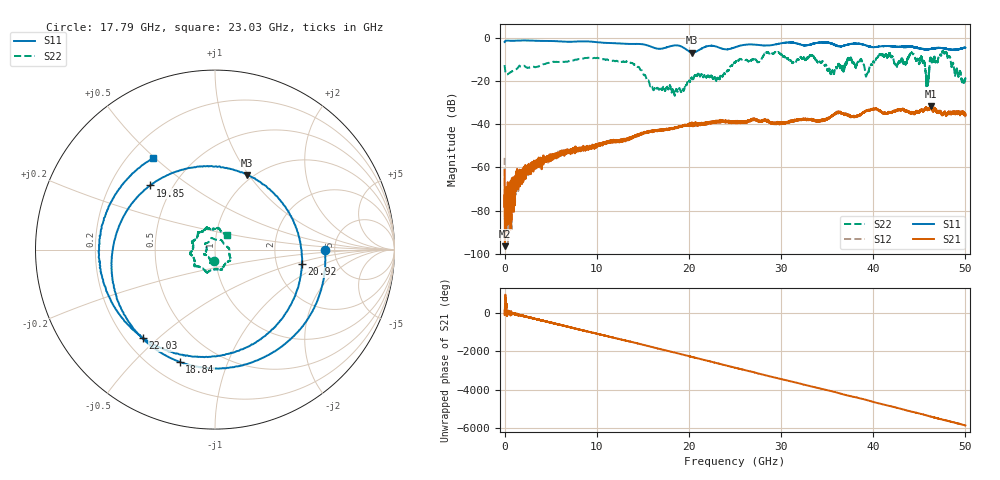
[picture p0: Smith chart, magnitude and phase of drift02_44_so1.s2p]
!Created with skrf (http://scikit-rf.org).
# Hz S RI R 50.0
!freq ReS11 ImS11 ReS21 ImS21 ReS12 ImS12 ReS22 ImS22
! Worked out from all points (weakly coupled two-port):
!   10001 points, 300 kHz to 50 GHz, reference 50 ohm
!   highest |S21| = -31.56 dB at 46.22 GHz (marker M1); lowest = -96.3 dB at 30.3 MHz (marker M2)
!   lowest |S11| = -6.9 dB at 20.35 GHz (marker M3), VSWR 2.64, Z = 46.9 + j48.8 ohm
!   |S11| at or under -10 dB: nowhere
!   |S22| runs from -26.9 to -6.0 dB; largest |S21 - S12| = 0.0029
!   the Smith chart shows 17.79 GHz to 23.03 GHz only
!   S11 on the Smith chart (normalised r, x): 17.79 GHz: 4.16, -0.04; 18.84 GHz: 0.31, -0.68; 19.85 GHz: 0.37, +0.36; 20.92 GHz: 2.77, -0.60; 22.03 GHz: 0.27, -0.45; 23.03 GHz: 0.30, +0.49
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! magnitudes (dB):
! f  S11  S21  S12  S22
! 300 kHz  -2.1  -61.2  -55.5  -12.7
! 30.3 MHz  -1.8  -96.3  -73.0  -14.1
! 255.3 MHz  -1.4  -76.1  -69.8  -17.0
! 2.72 GHz  -1.4  -61.8  -60.9  -13.8
! 8.335 GHz  -1.7  -51.4  -51.3  -9.7
! 13.71 GHz  -3.0  -45.9  -46.5  -11.7
! 16.67 GHz  -5.2  -42.9  -42.9  -23.6
! 17.79 GHz  -4.3  -42.4  -42.2  -23.7
! 18.84 GHz  -3.7  -41.3  -41.3  -24.8
! 19.85 GHz  -5.9  -40.3  -40.1  -20.5
! 20.35 GHz  -6.9  -40.1  -39.4  -18.7
! 20.92 GHz  -6.2  -39.7  -40.0  -17.2
! 22.03 GHz  -3.9  -39.7  -39.5  -17.5
! 23.03 GHz  -4.2  -39.0  -38.7  -19.4
! 25 GHz  -4.5  -38.9  -39.1  -11.5
! 33.34 GHz  -3.0  -37.8  -38.0  -8.4
! 39.33 GHz  -3.8  -33.5  -33.8  -16.6
! 41.67 GHz  -4.0  -34.7  -34.7  -7.7
! 45.86 GHz  -5.4  -32.6  -32.9  -19.7
! 46.22 GHz  -5.3  -31.6  -31.6  -9.4
! 47.75 GHz  -5.0  -34.5  -34.4  -7.2
! 50 GHz  -4.7  -35.4  -35.8  -19.0
